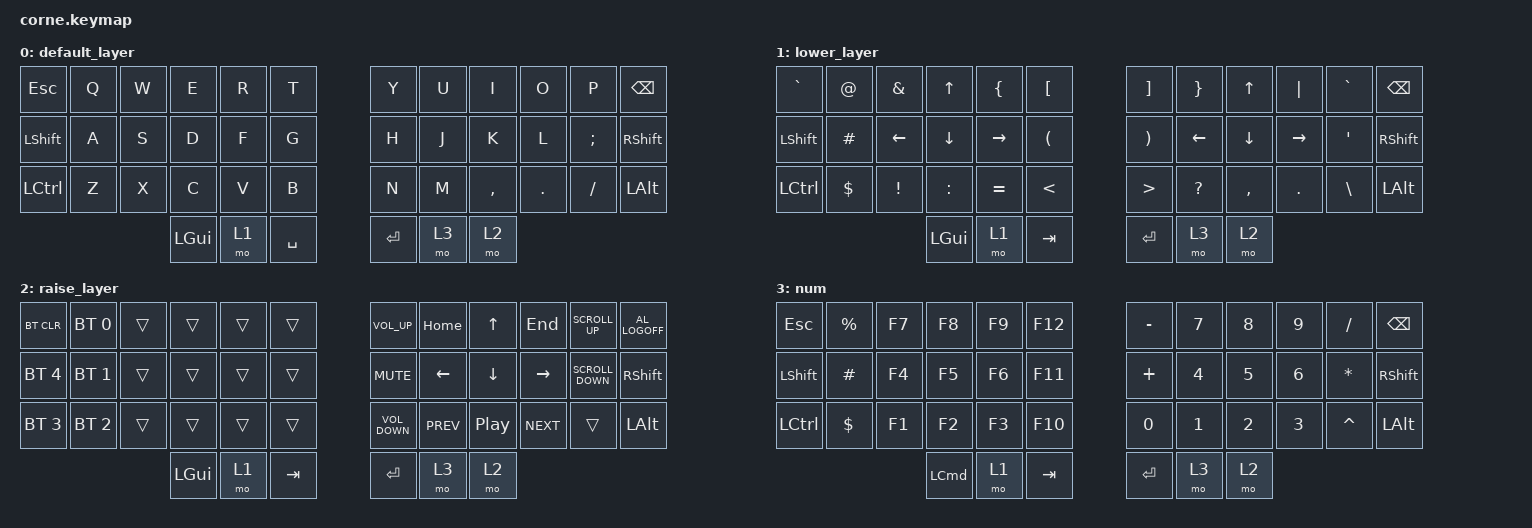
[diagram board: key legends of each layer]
/*
 * Copyright (c) 2020 The ZMK Contributors
 *
 * SPDX-License-Identifier: MIT
 */

#include <behaviors.dtsi>
#include <dt-bindings/zmk/bt.h>
#include <dt-bindings/zmk/keys.h>

/ {
    keymap {
        compatible = "zmk,keymap";

        default_layer {
            // -----------------------------------------------------------------------------------------
            // |  TAB |  Q  |  W  |  E  |  R  |  T  |   |  Y  |  U   |  I  |  O  |  P  | BKSP |
            // | CTRL |  A  |  S  |  D  |  F  |  G  |   |  H  |  J   |  K  |  L  |  ;  |  '   |
            // | SHFT |  Z  |  X  |  C  |  V  |  B  |   |  N  |  M   |  ,  |  .  |  /  | ESC  |
            //                    | GUI | LWR | SPC |   | ENT | RSE  | ALT |

            bindings = <
&kp ESCAPE      &kp Q  &kp W  &kp E     &kp R  &kp T        &kp Y    &kp U  &kp I      &kp O    &kp P      &kp BSPC
&kp LEFT_SHIFT  &kp A  &kp S  &kp D     &kp F  &kp G        &kp H    &kp J  &kp K      &kp L    &kp SEMI   &kp RIGHT_SHIFT
&kp LCTRL       &kp Z  &kp X  &kp C     &kp V  &kp B        &kp N    &kp M  &kp COMMA  &kp DOT  &kp SLASH  &kp LALT
                              &kp LGUI  &mo 1  &kp SPACE    &kp RET  &mo 3  &mo 2
            >;
        };

        lower_layer {
            // -----------------------------------------------------------------------------------------
            // |  TAB |  1  |  2  |  3  |  4  |  5  |   |  6  |  7  |  8  |  9  |  0  | BKSP |
            // | BTCLR| BT1 | BT2 | BT3 | BT4 | BT5 |   | LFT | DWN |  UP | RGT |     |      |
            // | SHFT |     |     |     |     |     |   |     |     |     |     |     |      |
            //                    | GUI |     | SPC |   | ENT |     | ALT |

            bindings = <
&kp GRAVE         &kp AT_SIGN  &kp AMPERSAND    &kp UP_ARROW    &kp LEFT_BRACE  &kp LEFT_BRACKET        &kp RIGHT_BRACKET      &kp RIGHT_BRACE  &kp UP_ARROW  &kp PIPE    &kp GRAVE      &kp BSPC
&kp LEFT_SHIFT    &kp HASH     &kp LEFT_ARROW   &kp DOWN_ARROW  &kp RIGHT       &kp LEFT_PARENTHESIS    &kp RIGHT_PARENTHESIS  &kp LEFT         &kp DOWN      &kp RIGHT   &kp SQT        &kp RIGHT_SHIFT
&kp LEFT_CONTROL  &kp DOLLAR   &kp EXCLAMATION  &kp COLON       &kp EQUAL       &kp LESS_THAN           &kp GREATER_THAN       &kp QUESTION     &kp COMMA     &kp PERIOD  &kp BACKSLASH  &kp LEFT_ALT
                                                &kp LGUI        &mo 1           &kp TAB                 &kp RET                &mo 3            &mo 2
            >;
        };

        raise_layer {
            // -----------------------------------------------------------------------------------------
            // |  TAB |  !  |  @  |  #  |  $  |  %  |   |  ^  |  &  |  *  |  (  |  )  | BKSP |
            // | CTRL |     |     |     |     |     |   |  -  |  =  |  [  |  ]  |  \  |  `   |
            // | SHFT |     |     |     |     |     |   |  _  |  +  |  {  |  }  | "|" |  ~   |
            //                    | GUI |     | SPC |   | ENT |     | ALT |

            bindings = <
&bt BT_CLR    &bt BT_SEL 0  &trans  &trans    &trans  &trans     &kp C_VOLUME_UP    &kp HOME    &kp UP_ARROW      &kp END     &kp K_SCROLL_UP    &kp C_AL_LOGOFF
&bt BT_SEL 4  &bt BT_SEL 1  &trans  &trans    &trans  &trans     &kp C_MUTE         &kp LEFT    &kp DOWN_ARROW    &kp RIGHT   &kp K_SCROLL_DOWN  &kp RIGHT_SHIFT
&bt BT_SEL 3  &bt BT_SEL 2  &trans  &trans    &trans  &trans     &kp C_VOLUME_DOWN  &kp C_PREV  &kp C_PLAY_PAUSE  &kp C_NEXT  &trans             &kp LEFT_ALT
                                    &kp LGUI  &mo 1   &kp TAB    &kp RET            &mo 3       &mo 2
            >;
        };

        num {
            bindings = <
&kp ESCAPE        &kp PERCENT  &kp F7  &kp F8            &kp F9  &kp F12    &kp MINUS  &kp N7        &kp N8        &kp NUMBER_9  &kp SLASH     &kp BACKSPACE
&kp LEFT_SHIFT    &kp POUND    &kp F4  &kp F5            &kp F6  &kp F11    &kp PLUS   &kp NUMBER_4  &kp N5        &kp NUMBER_6  &kp ASTERISK  &kp RIGHT_SHIFT
&kp LEFT_CONTROL  &kp DOLLAR   &kp F1  &kp F2            &kp F3  &kp F10    &kp N0     &kp NUMBER_1  &kp NUMBER_2  &kp NUMBER_3  &kp CARET     &kp LEFT_ALT
                                       &kp LEFT_COMMAND  &mo 1   &kp TAB    &kp ENTER  &mo 3         &mo 2
            >;
        };
    };
};
